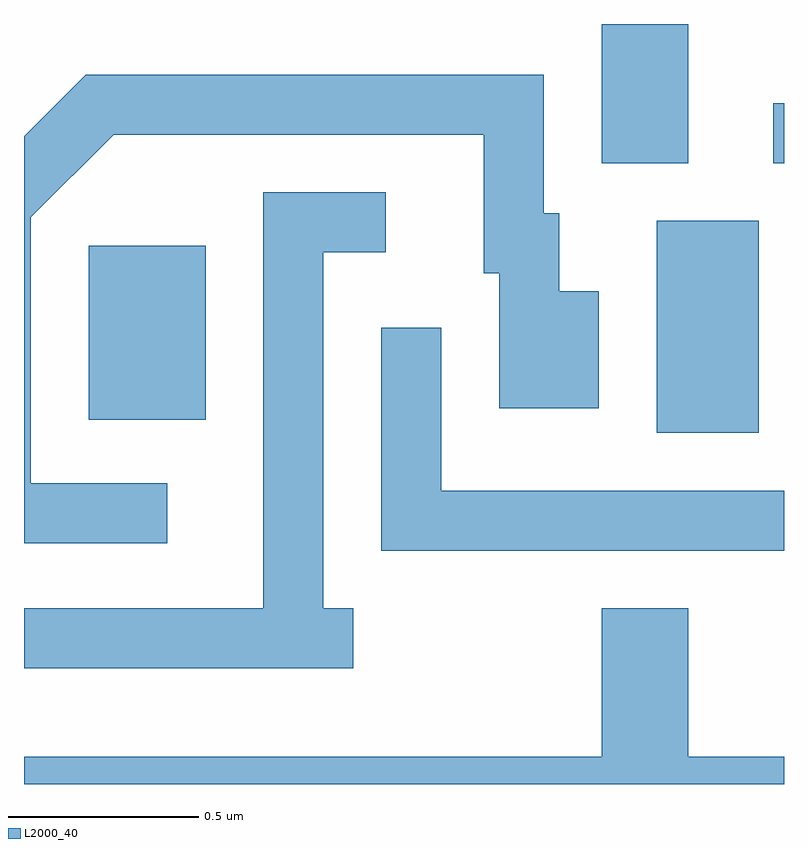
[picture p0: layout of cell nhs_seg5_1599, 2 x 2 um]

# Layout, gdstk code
import gdstk
lib = gdstk.Library(unit=1e-6, precision=1e-09)
def R(c, l, rs):  # rectangles x0, y0, x1, y1
    for r in rs: c.add(gdstk.rectangle(r[:2], r[2:], *l))
def P(c, l, *ps):  # polygons
    for p in ps: c.add(gdstk.Polygon(p, *l))
L2000_40 = (2000, 40)

nhs_seg5_1599 = lib.new_cell('nhs_seg5_1599')
R(nhs_seg5_1599, L2000_40, [(198.276,1488.996,198.544,1489.554), (196.781,1489.031,197.089,1489.489), (198.131,1489.706,198.359,1490.072), (198.583,1489.706,198.611,1489.864)])
P(nhs_seg5_1599, L2000_40, [(196.988,1488.864),(196.629,1488.864),(196.629,1489.564),(196.847,1489.781),(197.821,1489.781),(197.821,1489.416),(197.861,1489.416),(197.861,1489.061),(198.124,1489.061),(198.124,1489.369),(198.019,1489.369),(198.019,1489.574),(197.979,1489.574),(197.979,1489.939),(196.774,1489.939),(196.611,1489.777),(196.611,1488.706),(196.988,1488.706)],
  [(197.478,1488.534),(197.399,1488.534),(197.399,1489.471),(197.563,1489.471),(197.563,1489.629),(197.241,1489.629),(197.241,1488.534),(196.611,1488.534),(196.611,1488.376),(197.478,1488.376)],
  [(198.611,1488.844),(197.709,1488.844),(197.709,1489.273),(197.551,1489.273),(197.551,1488.686),(198.611,1488.686)],
  [(198.611,1488.144),(198.359,1488.144),(198.359,1488.534),(198.131,1488.534),(198.131,1488.144),(196.611,1488.144),(196.611,1488.072),(198.611,1488.072)])

lib.write_gds('nhs_seg5_1599.gds')
